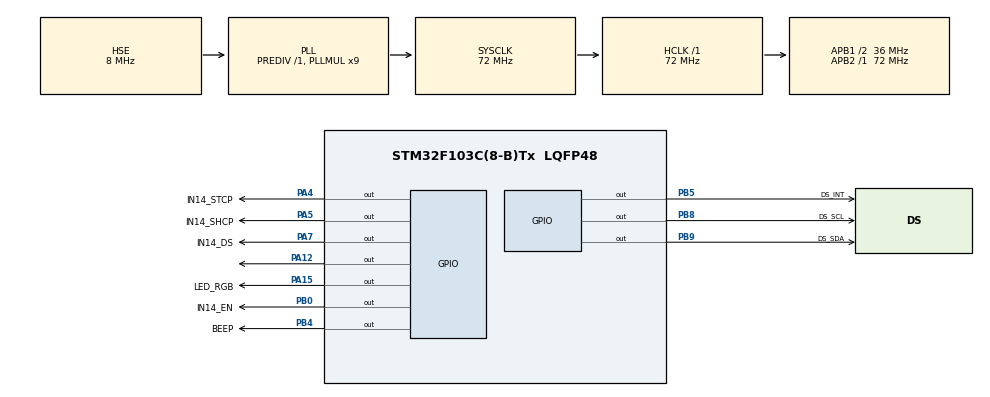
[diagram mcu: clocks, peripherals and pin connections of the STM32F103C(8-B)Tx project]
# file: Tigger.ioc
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Mcu.Family=STM32F1
Mcu.Name=STM32F103C(8-B)Tx
Mcu.Package=LQFP48
NVIC.PriorityGroup=NVIC_PRIORITYGROUP_4
PA12.Signal=GPIO_Output
PA13.Mode=Serial_Wire
PA13.Signal=SYS_JTMS-SWDIO
PA14.Mode=Serial_Wire
PA14.Signal=SYS_JTCK-SWCLK
PA15.GPIO_Label=LED_RGB
PA15.Signal=GPIO_Output
PA4.GPIO_Label=IN14_STCP
PA4.Signal=GPIO_Output
PA5.GPIO_Label=IN14_SHCP
PA5.Signal=GPIO_Output
PA7.GPIO_Label=IN14_DS
PA7.Signal=GPIO_Output
PB0.GPIO_Label=IN14_EN
PB0.Signal=GPIO_Output
PB4.GPIO_Label=BEEP
PB4.Signal=GPIO_Output
PB5.GPIO_Label=DS_INT
PB5.Signal=GPIO_Output
PB8.GPIO_Label=DS_SCL
PB8.Signal=GPIO_Output
PB9.GPIO_Label=DS_SDA
PB9.Signal=GPIO_Output
PD0-OSC_IN.Mode=HSE-External-Oscillator
PD0-OSC_IN.Signal=RCC_OSC_IN
PD1-OSC_OUT.Mode=HSE-External-Oscillator
PD1-OSC_OUT.Signal=RCC_OSC_OUT
ProjectManager.HeapSize=0x200
ProjectManager.StackSize=0x400
ProjectManager.TargetToolchain=MDK-ARM V5
RCC.AHBFreq_Value=72000000
RCC.APB1CLKDivider=RCC_HCLK_DIV2
RCC.APB1Freq_Value=36000000
RCC.APB1TimFreq_Value=72000000
RCC.APB2Freq_Value=72000000
RCC.APB2TimFreq_Value=72000000
RCC.HCLKFreq_Value=72000000
RCC.PLLMUL=RCC_PLL_MUL9
RCC.PLLSourceVirtual=RCC_PLLSOURCE_HSE
RCC.SYSCLKFreq_VALUE=72000000
RCC.SYSCLKSource=RCC_SYSCLKSOURCE_PLLCLK
RCC.USBFreq_Value=72000000
TIM3.Period=999
TIM3.Prescaler=71
VP_TIM3_VS_ClockSourceINT.Mode=Internal
board=Tigger

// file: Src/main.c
/**
  ******************************************************************************
  * File Name          : main.c
  * Description        : Main program body
  ******************************************************************************
  ** This notice applies to any and all portions of this file
  * that are not between comment pairs USER CODE BEGIN and
  * USER CODE END. Other portions of this file, whether
  * inserted by the user or by software development tools
  * are owned by their respective copyright owners.
  *
  * COPYRIGHT(c) 2021 STMicroelectronics
  *
  * Redistribution and use in source and binary forms, with or without modification,
  * are permitted provided that the following conditions are met:
  *   1. Redistributions of source code must retain the above copyright notice,
  *      this list of conditions and the following disclaimer.
  *   2. Redistributions in binary form must reproduce the above copyright notice,
  *      this list of conditions and the following disclaimer in the documentation
  *      and/or other materials provided with the distribution.
  *   3. Neither the name of STMicroelectronics nor the names of its contributors
  *      may be used to endorse or promote products derived from this software
  *      without specific prior written permission.
  *
  * THIS SOFTWARE IS PROVIDED BY THE COPYRIGHT HOLDERS AND CONTRIBUTORS "AS IS"
  * AND ANY EXPRESS OR IMPLIED WARRANTIES, INCLUDING, BUT NOT LIMITED TO, THE
  * IMPLIED WARRANTIES OF MERCHANTABILITY AND FITNESS FOR A PARTICULAR PURPOSE ARE
  * DISCLAIMED. IN NO EVENT SHALL THE COPYRIGHT HOLDER OR CONTRIBUTORS BE LIABLE
  * FOR ANY DIRECT, INDIRECT, INCIDENTAL, SPECIAL, EXEMPLARY, OR CONSEQUENTIAL
  * DAMAGES (INCLUDING, BUT NOT LIMITED TO, PROCUREMENT OF SUBSTITUTE GOODS OR
  * SERVICES; LOSS OF USE, DATA, OR PROFITS; OR BUSINESS INTERRUPTION) HOWEVER
  * CAUSED AND ON ANY THEORY OF LIABILITY, WHETHER IN CONTRACT, STRICT LIABILITY,
  * OR TORT (INCLUDING NEGLIGENCE OR OTHERWISE) ARISING IN ANY WAY OUT OF THE USE
  * OF THIS SOFTWARE, EVEN IF ADVISED OF THE POSSIBILITY OF SUCH DAMAGE.
  *
  ******************************************************************************
  */

#include "main.h"
#include "stm32f1xx_hal.h"
#include "tim.h"
#include "gpio.h"

/* USER CODE BEGIN Includes */
#include "74hc595.h"
/* USER CODE END Includes */

/* USER CODE BEGIN PV */
/* Private variables ---------------------------------------------------------*/
uint8_t IN14[5];
uint16_t IN14_Len = 5;
	uint8_t location[4];
/* USER CODE END PV */

void SystemClock_Config(void);

/* USER CODE BEGIN PFP */
/* Private function prototypes -----------------------------------------------*/

/* USER CODE END PFP */

/* USER CODE BEGIN 0 */
void IN14_Display(uint16_t num,uint8_t* IN14,uint16_t len);
/* USER CODE END 0 */

int main(void)
{

  /* MCU Configuration----------------------------------------------------------*/

  /* Reset of all peripherals, Initializes the Flash interface and the Systick. */
  HAL_Init();

  /* Configure the system clock */
  SystemClock_Config();

  /* Initialize all configured peripherals */
  MX_GPIO_Init();
  MX_TIM3_Init();

  /* Infinite loop */
  while (1)
  {

//  /* USER CODE BEGIN 3 */
//	HC595_Send_Multi_Byte(IN14,IN14_Len);
//	IN14[0] = 0x00;
//	IN14[1] = 0X00;
//	HC595_Send_Multi_Byte(IN14,IN14_Len);
	IN14_Display(1239,IN14,IN14_Len);
  }
  /* USER CODE END 3 */

}

/** System Clock Configuration
*/
void SystemClock_Config(void)
{

  RCC_OscInitTypeDef RCC_OscInitStruct;
  RCC_ClkInitTypeDef RCC_ClkInitStruct;

    /**Initializes the CPU, AHB and APB busses clocks
    */
  RCC_OscInitStruct.OscillatorType = RCC_OSCILLATORTYPE_HSE;
  RCC_OscInitStruct.HSEState = RCC_HSE_ON;
  RCC_OscInitStruct.HSEPredivValue = RCC_HSE_PREDIV_DIV1;
  RCC_OscInitStruct.HSIState = RCC_HSI_ON;
  RCC_OscInitStruct.PLL.PLLState = RCC_PLL_ON;
  RCC_OscInitStruct.PLL.PLLSource = RCC_PLLSOURCE_HSE;
  RCC_OscInitStruct.PLL.PLLMUL = RCC_PLL_MUL9;
  if (HAL_RCC_OscConfig(&RCC_OscInitStruct) != HAL_OK)
  {
    _Error_Handler(__FILE__, __LINE__);
  }

    /**Initializes the CPU, AHB and APB busses clocks
    */
  RCC_ClkInitStruct.ClockType = RCC_CLOCKTYPE_HCLK|RCC_CLOCKTYPE_SYSCLK
                              |RCC_CLOCKTYPE_PCLK1|RCC_CLOCKTYPE_PCLK2;
  RCC_ClkInitStruct.SYSCLKSource = RCC_SYSCLKSOURCE_PLLCLK;
  RCC_ClkInitStruct.AHBCLKDivider = RCC_SYSCLK_DIV1;
  RCC_ClkInitStruct.APB1CLKDivider = RCC_HCLK_DIV2;
  RCC_ClkInitStruct.APB2CLKDivider = RCC_HCLK_DIV1;

  if (HAL_RCC_ClockConfig(&RCC_ClkInitStruct, FLASH_LATENCY_2) != HAL_OK)
  {
    _Error_Handler(__FILE__, __LINE__);
  }

    /**Configure the Systick interrupt time
    */
  HAL_SYSTICK_Config(HAL_RCC_GetHCLKFreq()/1000);

    /**Configure the Systick
    */
  HAL_SYSTICK_CLKSourceConfig(SYSTICK_CLKSOURCE_HCLK);

  /* SysTick_IRQn interrupt configuration */
  HAL_NVIC_SetPriority(SysTick_IRQn, 0, 0);
}

/* USER CODE BEGIN 4 */
void IN14_Display(uint16_t num,uint8_t* in14,uint16_t len)
{

	for(uint8_t i;i<len;i++){
		in14[i] = 0x00;
	}
	location[0] = 11 - num/1000 %10;
	location[1] = 21 - num/100 % 10;
	location[2] = 31 - num/10 % 10;
	location[3] = 41 - num/1 % 10;

	uint8_t add=0;
	uint8_t flag = 3;
		for(uint8_t x=0;x<5;x++){
			for(uint8_t y=0;y<8;y++){
				if(add == 40 - location[flag]){
					in14[x] = in14[x]|0x80>>y;
					flag-=1;
				}
				add+=1;
			}
		}
	HC595_Send_Multi_Byte(IN14,IN14_Len);

}
/* USER CODE END 4 */

void _Error_Handler(char * file, int line)
{
  while(1)
  {
  }
}

/************************ (C) COPYRIGHT STMicroelectronics *****END OF FILE****/
